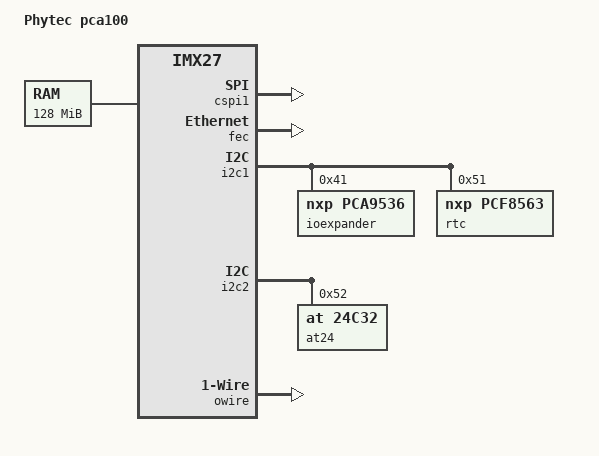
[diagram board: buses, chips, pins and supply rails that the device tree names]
/*
 * Copyright 2012 Sascha Hauer, Uwe Kleine-König, Steffen Trumtrar
 * and Markus Pargmann, Pengutronix
 *
 * The code contained herein is licensed under the GNU General Public
 * License. You may obtain a copy of the GNU General Public License
 * Version 2 or later at the following locations:
 *
 * http://www.opensource.org/licenses/gpl-license.html
 * http://www.gnu.org/copyleft/gpl.html
 */

/dts-v1/;
#include "imx27.dtsi"

/ {
	model = "Phytec pca100";
	compatible = "phytec,imx27-pca100", "fsl,imx27";

	memory {
		reg = <0xa0000000 0x08000000>; /* 128MB */
	};
};

&cspi1 {
	fsl,spi-num-chipselects = <2>;
	cs-gpios = <&gpio4 28 0>,
		<&gpio4 27 0>;
	status = "okay";
};

&fec {
	status = "okay";
};

&i2c1 {
	status = "okay";

	ioexpander@41 {
		compatible = "nxp,pca9536";
		reg = <0x41>;
	};

	rtc@51 {
		compatible = "nxp,pcf8563";
		reg = <0x51>;
	};
};

&i2c2 {
	status = "okay";

	at24@52 {
		compatible = "at,24c32";
		pagesize = <32>;
		reg = <0x52>;
	};
};

&owire {
	status = "okay";
};
